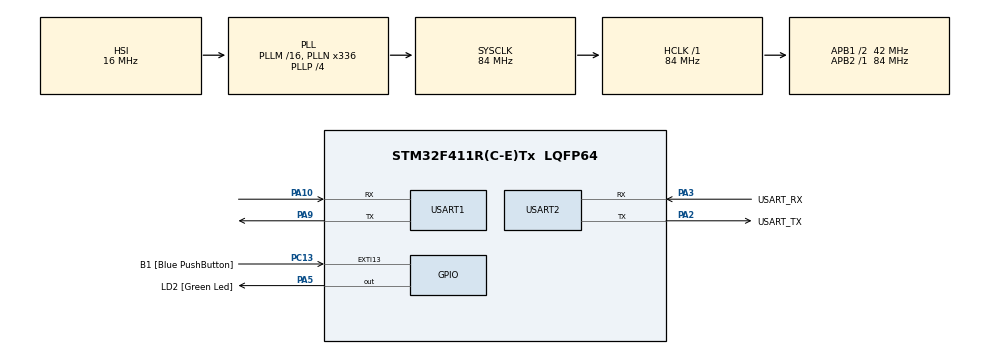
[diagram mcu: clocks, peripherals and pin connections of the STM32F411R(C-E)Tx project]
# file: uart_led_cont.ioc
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Mcu.Family=STM32F4
Mcu.Name=STM32F411R(C-E)Tx
Mcu.Package=LQFP64
NVIC.PriorityGroup=NVIC_PRIORITYGROUP_0
NVIC.USART1_IRQn=true\:0\:0\:false\:false\:true\:true\:true\:true
PA10.Mode=Asynchronous
PA10.Signal=USART1_RX
PA13.GPIO_Label=TMS
PA13.Mode=Serial_Wire
PA13.Signal=SYS_JTMS-SWDIO
PA14.GPIO_Label=TCK
PA14.Mode=Serial_Wire
PA14.Signal=SYS_JTCK-SWCLK
PA2.GPIO_Label=USART_TX
PA2.Mode=Asynchronous
PA2.Signal=USART2_TX
PA3.GPIO_Label=USART_RX
PA3.Mode=Asynchronous
PA3.Signal=USART2_RX
PA5.GPIO_Label=LD2 [Green Led]
PA5.Signal=GPIO_Output
PA9.Mode=Asynchronous
PA9.Signal=USART1_TX
PB3.GPIO_Label=SWO
PB3.Signal=SYS_JTDO-SWO
PC13-ANTI_TAMP.GPIO_Label=B1 [Blue PushButton]
PC13-ANTI_TAMP.GPIO_ModeDefaultEXTI=GPIO_MODE_IT_FALLING
PC13-ANTI_TAMP.Signal=GPXTI13
PC14-OSC32_IN.Mode=LSE-External-Oscillator
PC14-OSC32_IN.Signal=RCC_OSC32_IN
PC15-OSC32_OUT.Mode=LSE-External-Oscillator
PC15-OSC32_OUT.Signal=RCC_OSC32_OUT
PH0\ -\ OSC_IN.Mode=HSE-External-Clock-Source
PH0\ -\ OSC_IN.Signal=RCC_OSC_IN
PH1\ -\ OSC_OUT.Mode=HSE-External-Clock-Source
PH1\ -\ OSC_OUT.Signal=RCC_OSC_OUT
ProjectManager.HeapSize=0x200
ProjectManager.StackSize=0x400
ProjectManager.TargetToolchain=STM32CubeIDE
RCC.48MHZClocksFreq_Value=84000000
RCC.AHBFreq_Value=84000000
RCC.APB1CLKDivider=RCC_HCLK_DIV2
RCC.APB1Freq_Value=42000000
RCC.APB1TimFreq_Value=84000000
RCC.APB2Freq_Value=84000000
RCC.APB2TimFreq_Value=84000000
RCC.CortexFreq_Value=84000000
RCC.FLatency-AdvancedSettings=FLASH_LATENCY_2
RCC.HCLKFreq_Value=84000000
RCC.HSE_VALUE=8000000
RCC.HSI_VALUE=16000000
RCC.PLLN=336
RCC.PLLP=RCC_PLLP_DIV4
RCC.SYSCLKFreq_VALUE=84000000
RCC.SYSCLKSource=RCC_SYSCLKSOURCE_PLLCLK
RCC.VCOOutputFreq_Value=336000000
USART1.VirtualMode=VM_ASYNC
USART2.VirtualMode=VM_ASYNC
board=NUCLEO-F411RE

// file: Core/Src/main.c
/* USER CODE BEGIN Header */
/**
  ******************************************************************************
  * @file           : main.c
  * @brief          : Main program body
  ******************************************************************************
  * @attention
  *
  * Copyright (c) 2025 STMicroelectronics.
  * All rights reserved.
  *
  * This software is licensed under terms that can be found in the LICENSE file
  * in the root directory of this software component.
  * If no LICENSE file comes with this software, it is provided AS-IS.
  *
  ******************************************************************************
  */
/* USER CODE END Header */
#include "main.h"

/* USER CODE BEGIN Includes */
#include <stdio.h>
/* USER CODE END Includes */

UART_HandleTypeDef huart1;
UART_HandleTypeDef huart2;

/* USER CODE BEGIN PV */
uint8_t received_msg[1];
uint8_t msg[] =
    "send 0x99\r\n"
    "send 0x97\r\n";

uint8_t confirmatoin_msg[] = "Command Received\r\n";

uint8_t error_msg[] = "Unknown command \r\n";

typedef enum
{
	TURN_ON_LED  = 0x99,
	TURN_OFF_LED = 0x97
}led_state_t;
/* USER CODE END PV */

void SystemClock_Config(void);
static void MX_GPIO_Init(void);
static void MX_USART2_UART_Init(void);
static void MX_USART1_UART_Init(void);

/* USER CODE BEGIN 0 */
int __io_putchar(int ch)
{
	HAL_UART_Transmit(&huart1, (uint8_t*)&ch, 1, 10);
	return ch;
}
/* USER CODE END 0 */

int main(void)
{

  /* MCU Configuration--------------------------------------------------------*/

  /* Reset of all peripherals, Initializes the Flash interface and the Systick. */
  HAL_Init();

  /* Configure the system clock */
  SystemClock_Config();

  /* Initialize all configured peripherals */
  MX_GPIO_Init();
  MX_USART2_UART_Init();
  MX_USART1_UART_Init();
  /* USER CODE BEGIN 2 */
  printf("Welcome to the program\r\n");
  HAL_UART_Transmit(&huart1, (uint8_t*)msg, sizeof(msg) - 1, HAL_MAX_DELAY); // send the welcome message and ask the user to send a command
  HAL_UART_Receive_IT(&huart1, received_msg, sizeof(received_msg));
  /* USER CODE END 2 */

  /* Infinite loop */
  while (1)
  {

  }
}

void SystemClock_Config(void)
{
  RCC_OscInitTypeDef RCC_OscInitStruct = {0};
  RCC_ClkInitTypeDef RCC_ClkInitStruct = {0};

  /** Configure the main internal regulator output voltage
  */
  __HAL_RCC_PWR_CLK_ENABLE();
  __HAL_PWR_VOLTAGESCALING_CONFIG(PWR_REGULATOR_VOLTAGE_SCALE1);

  /** Initializes the RCC Oscillators according to the specified parameters
  * in the RCC_OscInitTypeDef structure.
  */
  RCC_OscInitStruct.OscillatorType = RCC_OSCILLATORTYPE_HSI;
  RCC_OscInitStruct.HSIState = RCC_HSI_ON;
  RCC_OscInitStruct.HSICalibrationValue = RCC_HSICALIBRATION_DEFAULT;
  RCC_OscInitStruct.PLL.PLLState = RCC_PLL_ON;
  RCC_OscInitStruct.PLL.PLLSource = RCC_PLLSOURCE_HSI;
  RCC_OscInitStruct.PLL.PLLM = 16;
  RCC_OscInitStruct.PLL.PLLN = 336;
  RCC_OscInitStruct.PLL.PLLP = RCC_PLLP_DIV4;
  RCC_OscInitStruct.PLL.PLLQ = 4;
  if (HAL_RCC_OscConfig(&RCC_OscInitStruct) != HAL_OK)
  {
    Error_Handler();
  }

  /** Initializes the CPU, AHB and APB buses clocks
  */
  RCC_ClkInitStruct.ClockType = RCC_CLOCKTYPE_HCLK|RCC_CLOCKTYPE_SYSCLK
                              |RCC_CLOCKTYPE_PCLK1|RCC_CLOCKTYPE_PCLK2;
  RCC_ClkInitStruct.SYSCLKSource = RCC_SYSCLKSOURCE_PLLCLK;
  RCC_ClkInitStruct.AHBCLKDivider = RCC_SYSCLK_DIV1;
  RCC_ClkInitStruct.APB1CLKDivider = RCC_HCLK_DIV2;
  RCC_ClkInitStruct.APB2CLKDivider = RCC_HCLK_DIV1;

  if (HAL_RCC_ClockConfig(&RCC_ClkInitStruct, FLASH_LATENCY_2) != HAL_OK)
  {
    Error_Handler();
  }
}

static void MX_USART1_UART_Init(void)
{

  huart1.Instance = USART1;
  huart1.Init.BaudRate = 115200;
  huart1.Init.WordLength = UART_WORDLENGTH_8B;
  huart1.Init.StopBits = UART_STOPBITS_1;
  huart1.Init.Parity = UART_PARITY_NONE;
  huart1.Init.Mode = UART_MODE_TX_RX;
  huart1.Init.HwFlowCtl = UART_HWCONTROL_NONE;
  huart1.Init.OverSampling = UART_OVERSAMPLING_16;
  if (HAL_UART_Init(&huart1) != HAL_OK)
  {
    Error_Handler();
  }

}

static void MX_USART2_UART_Init(void)
{

  huart2.Instance = USART2;
  huart2.Init.BaudRate = 115200;
  huart2.Init.WordLength = UART_WORDLENGTH_8B;
  huart2.Init.StopBits = UART_STOPBITS_1;
  huart2.Init.Parity = UART_PARITY_NONE;
  huart2.Init.Mode = UART_MODE_TX_RX;
  huart2.Init.HwFlowCtl = UART_HWCONTROL_NONE;
  huart2.Init.OverSampling = UART_OVERSAMPLING_16;
  if (HAL_UART_Init(&huart2) != HAL_OK)
  {
    Error_Handler();
  }

}

static void MX_GPIO_Init(void)
{
  GPIO_InitTypeDef GPIO_InitStruct = {0};

  /* GPIO Ports Clock Enable */
  __HAL_RCC_GPIOC_CLK_ENABLE();
  __HAL_RCC_GPIOH_CLK_ENABLE();
  __HAL_RCC_GPIOA_CLK_ENABLE();
  __HAL_RCC_GPIOB_CLK_ENABLE();

  /*Configure GPIO pin Output Level */
  HAL_GPIO_WritePin(LD2_GPIO_Port, LD2_Pin, GPIO_PIN_RESET);

  /*Configure GPIO pin : B1_Pin */
  GPIO_InitStruct.Pin = B1_Pin;
  GPIO_InitStruct.Mode = GPIO_MODE_IT_FALLING;
  GPIO_InitStruct.Pull = GPIO_NOPULL;
  HAL_GPIO_Init(B1_GPIO_Port, &GPIO_InitStruct);

  /*Configure GPIO pin : LD2_Pin */
  GPIO_InitStruct.Pin = LD2_Pin;
  GPIO_InitStruct.Mode = GPIO_MODE_OUTPUT_PP;
  GPIO_InitStruct.Pull = GPIO_NOPULL;
  GPIO_InitStruct.Speed = GPIO_SPEED_FREQ_LOW;
  HAL_GPIO_Init(LD2_GPIO_Port, &GPIO_InitStruct);

}

/* USER CODE BEGIN 4 */
void HAL_UART_RxCpltCallback(UART_HandleTypeDef *huart)
{
	if (huart->Instance == USART1) {
		// USART1-specific handling
		if(*(received_msg + 0) == TURN_ON_LED) {
			HAL_GPIO_WritePin(GPIOA, GPIO_PIN_5, GPIO_PIN_SET);
		} else if(*(received_msg + 0) == TURN_OFF_LED) {
			HAL_GPIO_WritePin(GPIOA, GPIO_PIN_5, GPIO_PIN_RESET);
		} else {
			HAL_UART_Transmit(&huart1, (uint8_t*)error_msg, sizeof(error_msg) - 1, HAL_MAX_DELAY); // send error message in case of unknown command
		}
		// Re-arm reception
		HAL_UART_Receive_IT(&huart1, received_msg, 1);
	}
}
/* USER CODE END 4 */

void Error_Handler(void)
{
  __disable_irq();
  while (1)
  {
  }
}
